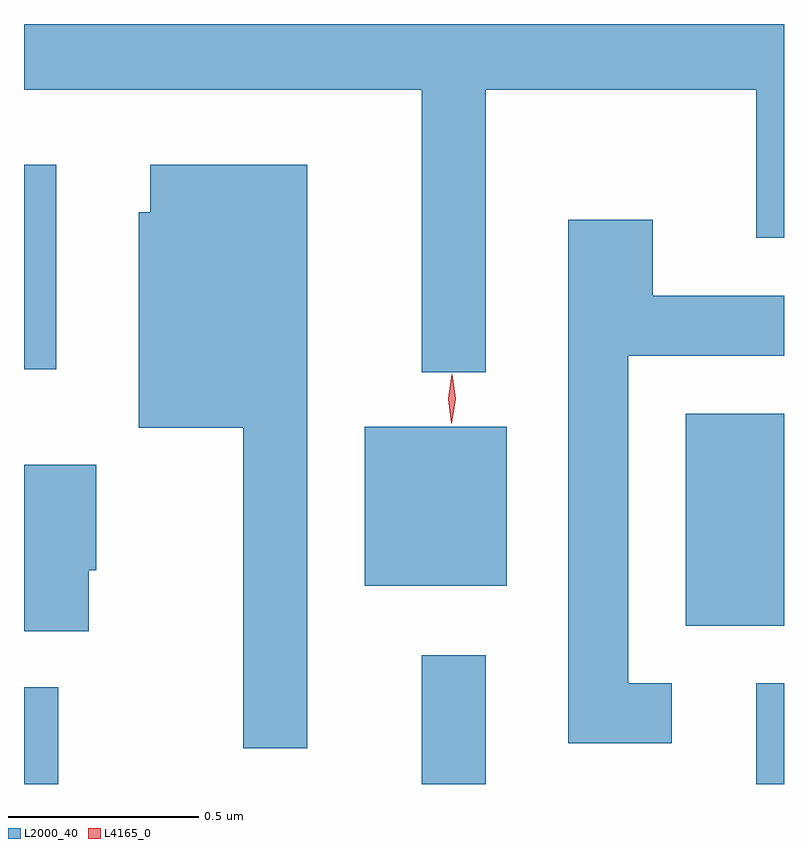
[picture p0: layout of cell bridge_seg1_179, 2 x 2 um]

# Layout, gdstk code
import gdstk
lib = gdstk.Library(unit=1e-6, precision=1e-09)
def R(c, l, rs):  # rectangles x0, y0, x1, y1
    for r in rs: c.add(gdstk.rectangle(r[:2], r[2:], *l))
def P(c, l, *ps):  # polygons
    for p in ps: c.add(gdstk.Polygon(p, *l))
L2000_40 = (2000, 40)
L4165_0 = (4165, 0)

bridge_seg1_179 = lib.new_cell('bridge_seg1_179')
R(bridge_seg1_179, L2000_40, [(628.994,957.689,629.084,957.943), (630.041,957.689,630.209,958.028), (630.921,957.689,630.994,957.954), (630.736,958.106,630.994,958.664), (629.891,958.211,630.264,958.629), (628.994,958.781,629.079,959.319)])
P(bridge_seg1_179, L2000_40, [(630.209,959.516),(630.921,959.516),(630.921,959.126),(630.994,959.126),(630.994,959.689),(628.994,959.689),(628.994,959.516),(630.041,959.516),(630.041,958.773),(630.209,958.773)],
  [(629.739,959.319),(629.326,959.319),(629.326,959.194),(629.296,959.194),(629.296,958.626),(629.571,958.626),(629.571,957.783),(629.739,957.783)],
  [(630.698,957.954),(630.584,957.954),(630.584,958.816),(630.994,958.816),(630.994,958.974),(630.649,958.974),(630.649,959.174),(630.426,959.174),(630.426,957.796),(630.698,957.796)],
  [(629.164,958.251),(629.184,958.251),(629.184,958.529),(628.994,958.529),(628.994,958.091),(629.164,958.091)])
P(bridge_seg1_179, L4165_0, [(630.119,958.638),(630.118,958.639),(630.11,958.703),(630.12,958.767),(630.121,958.767),(630.121,958.767),(630.13,958.703),(630.119,958.639)])

lib.write_gds('bridge_seg1_179.gds')
